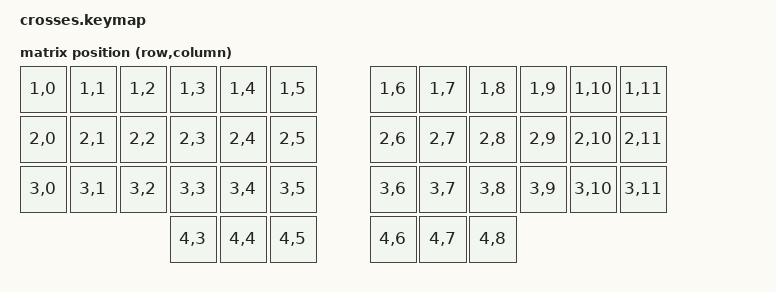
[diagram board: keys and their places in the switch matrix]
#define CONFIG_WIRELESS
#define REAL_POINTING_DEVICE
#define ZMK_BASE_LAYER(name, LT, RT, LM, RM, LB, RB, LH, RH)                   \
    ZMK_LAYER(                                                                 \
        name,                                                                  \
                 LT RT                                                         \
                 LM RM                                                         \
                 LB RB                                                         \
                 LH RH                                                         \
    )

#include <zmk-helpers/key-labels/42.h>
#include <dt-bindings/zmk/matrix_transform.h>

/ {
    chosen {
        zmk,physical-layout = &gggw_crosses_42_layout;
        zmk,matrix-transform = &shifted_transform;
    };

    shifted_transform: keymap_transform0 {
        compatible = "zmk,matrix-transform";
        columns = <12>;
        rows = <5>;
        map = <
            RC(1,0) RC(1,1) RC(1,2) RC(1,3) RC(1,4) RC(1,5)       RC(1,6) RC(1,7) RC(1,8) RC(1,9) RC(1,10) RC(1,11)
            RC(2,0) RC(2,1) RC(2,2) RC(2,3) RC(2,4) RC(2,5)       RC(2,6) RC(2,7) RC(2,8) RC(2,9) RC(2,10) RC(2,11)
            RC(3,0) RC(3,1) RC(3,2) RC(3,3) RC(3,4) RC(3,5)       RC(3,6) RC(3,7) RC(3,8) RC(3,9) RC(3,10) RC(3,11)
                                    RC(4,3) RC(4,4) RC(4,5)       RC(4,6) RC(4,7) RC(4,8)
        >;
    };
};

&gggw_crosses_42_layout {
    transform = <&shifted_transform>;
};

#include "base.keymap"

/* Trackball configuration is handled by the gggw-zmk-keebs module overlays:
 * - Left side: trackball_peripheral_split sends scroll events (via zip_xy_to_scroll_mapper)
 * - Right side: trackball_central_listener handles movement, trackball_peripheral_listener receives scroll
 */
